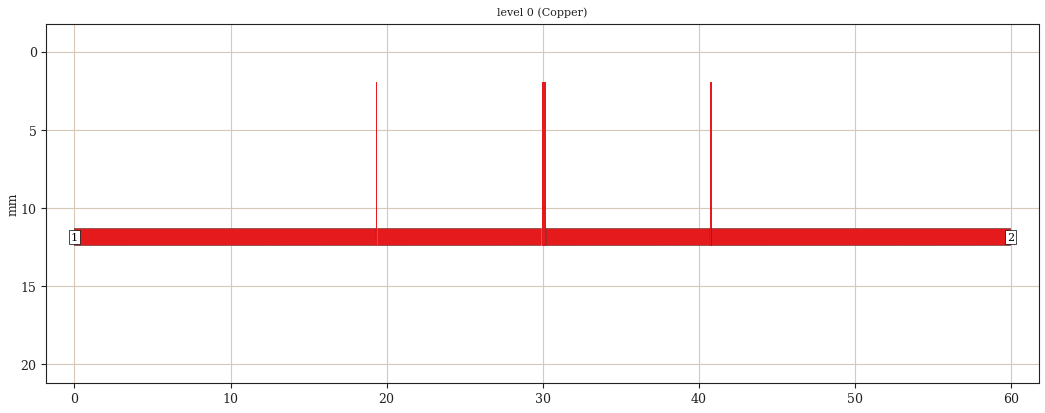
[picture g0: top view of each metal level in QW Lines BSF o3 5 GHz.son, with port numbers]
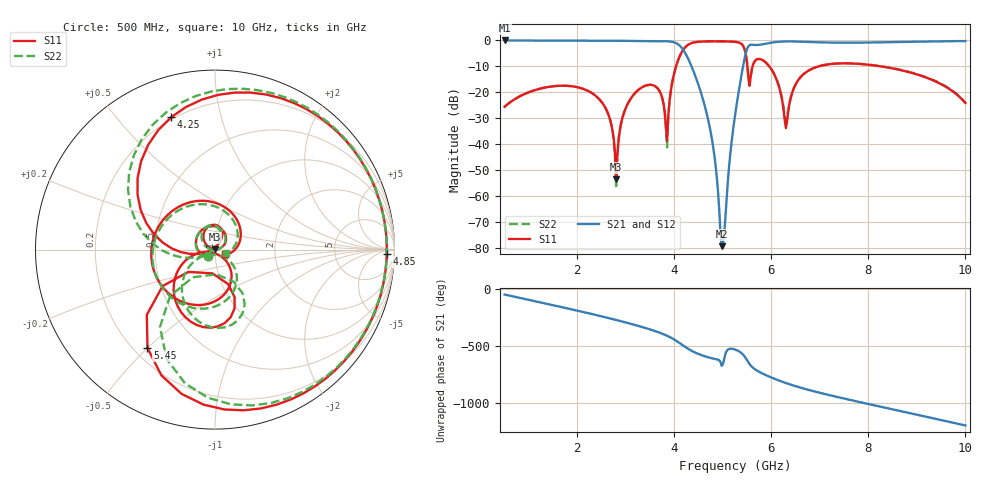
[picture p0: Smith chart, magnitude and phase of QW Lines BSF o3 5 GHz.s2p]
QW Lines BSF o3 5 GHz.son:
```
FTYP SONPROJ 19 ! Sonnet Project File
VER 18.53
HEADER
LIC SL65ec19c8
DAT 03/31/2024 16:20:50
BUILT_BY_CREATED example 18.53 10/19/2021 01:59:07
BUILT_BY_SAVED sonnet 18.53-Lite
MDATE 03/31/2024 16:20:50
HDATE 03/31/2024 16:20:50
END HEADER
DIM
ANG DEG
CAP PF
CON /OH
FREQ GHZ
IND NH
LNG MM
RES OH
END DIM
CONTROL
VARSWP
OPTIONS  -d
SPEED 0
CACHE_ABS 2
Q_ACC N
END CONTROL
GEO
DRP1 LEFT FIX 9.0805
DRP1 RIGHT FIX 9.398
DRP1 BOTTOM FIX 4.064
TMET "Free Space" 0 FREESPACE 376.7303136 0 0 0
BMET "Copper" 1 NOR 58000000 0.5 0.032 
MET "Copper" 1 NOR 58000000 0.5 0.032 
BOX 1 59.9696 19.4096 1522 572 20 0
      5 1 1 0 0 0 2 "Air"
      0.508 3.55 1 0.0021 0 0 2 "RO4003C"
TECHLAY METAL Copper <UNSPECIFIED> -2 -65534 
0 0 0 N 617 1 1 100 100 0 0 0 Y
END
END
DIM STD YDIR -1
POS 4.917840297 -1.808250068
NOM 1.1
REF1 POLY 660 1
3
REF2 POLY 660 1
0
END
DIM STD YDIR -1
POS 4.917840297 -1.808250068
NOM 1.1
REF1 POLY 569 1
3
REF2 POLY 569 1
0
END
DIM STD YDIR -1
POS 4.917840297 -1.808250068
NOM 1.1
REF1 POLY 509 1
3
REF2 POLY 509 1
0
END
DIM STD YDIR -1
POS 4.917840297 -1.808250068
NOM 1.1
REF1 POLY 597 1
3
REF2 POLY 597 1
0
END
VALVAR W0 LNG 1.1 "Dim. Param."
VALVAR L4 LNG 10.5 "Dim. Param."
VALVAR W1 LNG 0.1 "Dim. Param."
VALVAR W2 LNG 0.27 "Dim. Param. W2"
LORGN 0 19.4096 U 
POR1 BOX
POLY 509 1
3
1 50 0 0 0 0 11.87347638 
POR1 BOX
POLY 660 1
1
2 50 0 0 0 59.96963125 11.87143441 
NUM 7
0 5 0 N 509 1 1 100 100 0 0 0 Y
TLAYNAM Copper INH
0 11.32347638
19.31313551 11.32347638
19.30214538 12.41935866
0 12.42347638
0 11.32347638
END
0 5 0 N 561 1 1 100 100 0 0 0 Y
TLAYNAM Copper INH
19.29629796 1.943764093
19.39629796 1.943764093
19.39629796 12.44376409
19.29629796 12.44376409
19.29629796 1.943764093
END
0 5 0 N 569 1 1 100 100 0 0 0 Y
TLAYNAM Copper INH
19.41694819 11.32347638
29.91694819 11.32347638
29.90595822 12.41934258
19.41694819 12.42347638
19.41694819 11.32347638
END
0 5 0 N 579 1 1 100 100 0 0 0 Y
TLAYNAM Copper INH
29.92859526 1.943763941
30.19859526 1.943763941
30.19859526 12.44376394
29.92859526 12.44376394
29.92859526 1.943763941
END
0 5 0 N 597 1 1 100 100 0 0 0 Y
TLAYNAM Copper INH
30.21304884 11.32347623
40.71304884 11.32347623
40.70205887 12.41934243
30.21304884 12.42347623
30.21304884 11.32347623
END
0 5 0 N 601 1 1 100 100 0 0 0 Y
TLAYNAM Copper INH
40.73089257 1.943763941
40.83089257 1.943763941
40.83089257 12.44376394
40.73089257 12.44376394
40.73089257 1.943763941
END
0 5 0 N 660 1 1 100 100 0 0 0 Y
TLAYNAM Copper INH
40.82031974 11.32347638
59.97512648 11.32347638
59.96413601 12.41939244
40.82031974 12.42347638
40.82031974 11.32347638
END
END GEO
OPT
MAX 100
END OPT
VARSWP
ENABLED Y
FREQ Y AY ABS_ENTRY 0.5 10.0 -1 300 
VAR W0 N 1.1 1.1 UNDEF
VAR L4 N 10.5 10.5 UNDEF
VAR W1 N 0.1 0.1 UNDEF
VAR W2 N 0.27 0.27 UNDEF
END
END VARSWP
TRANSLATOR
END TRANSLATOR
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```
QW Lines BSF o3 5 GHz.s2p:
! Sonnet Data File
! From: sonnet Version : 18.53-Lite
! From Emgraph Data:
! Data File Written: 03/31/2024 16:33:21
!< HDATE 03/31/2024 16:20:50
!< MDATE 03/31/2024 16:20:50
!< PARAMS
!< W0 = 1.1
!< L4 = 10.5
!< W1 = 0.1
!< W2 = 0.27
!< END PARAMS
# GHZ S MA R 50.00000
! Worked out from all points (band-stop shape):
!   381 points, 500 MHz to 10 GHz, reference 50 ohm
!   highest |S21| = -0.04 dB at 500 MHz (marker M1); lowest = -79.4 dB at 4.975 GHz (marker M2)
!   |S21| within 3 dB of the highest: start of sweep to 4.158 GHz; 5.505 GHz to end of sweep
!   lowest |S11| = -53.7 dB at 2.8 GHz (marker M3), VSWR 1.00, Z = 50 + j0.203 ohm
!   |S11| at or under -10 dB: start of sweep to 4.036 GHz; 5.956 GHz to 6.98 GHz (1.024 GHz wide, 15.8 % of centre); 8.243 GHz to end of sweep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
!   |S22| runs from -56.3 to -0.4 dB; largest |S21 - S12| = 1.2e-13
!   S11 on the Smith chart (normalised r, x): 500 MHz: 0.93, -0.07; 4.25 GHz: 0.19, +0.71; 4.85 GHz: 35, -20; 5.45 GHz: 0.25, -0.50; 10 GHz: 1.12, -0.06
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0.5  0.05214 -135.8  0.9952 -46.6  0.9952 -46.6  0.05218 -134.3
2.325  0.09268 48.5  0.981 140.1  0.981 140.1  0.09259 51.8
2.8  0.002077 77.8  0.9818 90.7  0.9818 90.7  0.001536 -81.4
4.25  0.7769 108.3  0.5132 -153.2  0.5132 -153.2  0.7772 116.5
4.85  0.9576 -1.4  0.003845 107.2  0.003845 107.2  0.9573 7.5
4.975  0.9566 -19.0  0.0001067 48.3  0.0001067 48.3  0.9562 -9.9
5.25  0.9357 -63.2  0.03533 -168.3  0.03533 -168.3  0.9358 -53.5
5.45  0.6643 -124.5  0.4613 129.3  0.4613 129.3  0.6663 -113.9
6.3  0.0203 -106.2  0.9527 -102.4  0.9527 -102.4  0.0273 -97.2
7.825  0.3506 173.3  0.9041 90.3  0.9041 90.3  0.3525 -170.4
10  0.06193 -25.2  0.9674 -114.2  0.9674 -114.2  0.0614 -16.2
